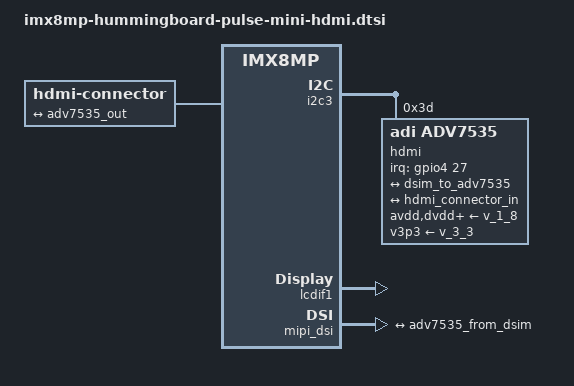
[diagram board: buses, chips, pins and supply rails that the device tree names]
// SPDX-License-Identifier: (GPL-2.0+ OR MIT)
/*
 * Copyright 2025 Josua Mayer <josua@solid-run.com>
 */

/ {
	hdmi-connector {
		compatible = "hdmi-connector";
		label = "hdmi";
		type = "c";

		port {
			hdmi_connector_in: endpoint {
				remote-endpoint = <&adv7535_out>;
			};
		};
	};
};

&i2c3 {
	hdmi@3d {
		compatible = "adi,adv7535";
		reg = <0x3d>, <0x3f>, <0x3c>, <0x38>;
		reg-names = "main", "edid", "cec", "packet";
		adi,dsi-lanes = <4>;
		avdd-supply = <&v_1_8>;
		dvdd-supply = <&v_1_8>;
		pvdd-supply = <&v_1_8>;
		a2vdd-supply = <&v_1_8>;
		v3p3-supply = <&v_3_3>;
		pinctrl-names = "default";
		pinctrl-0 = <&mini_hdmi_pins>;
		interrupt-parent = <&gpio4>;
		interrupts = <27 IRQ_TYPE_EDGE_FALLING>;

		ports {
			#address-cells = <1>;
			#size-cells = <0>;

			port@0 {
				reg = <0>;

				adv7535_from_dsim: endpoint {
					remote-endpoint = <&dsim_to_adv7535>;
				};
			};

			port@1 {
				reg = <1>;

				adv7535_out: endpoint {
					remote-endpoint = <&hdmi_connector_in>;
				};
			};
		};
	};
};

&iomuxc {
	mini_hdmi_pins: pinctrl-mini-hdmi-grp {
		fsl,pins = <
			MX8MP_IOMUXC_SAI2_MCLK__GPIO4_IO27		0x0
		>;
	};
};

&lcdif1 {
	status = "okay";
};

&mipi_dsi {
	samsung,esc-clock-frequency = <10000000>;
	status = "okay";

	port@1 {
		dsim_to_adv7535: endpoint {
			remote-endpoint = <&adv7535_from_dsim>;
			attach-bridge;
		};
	};
};
